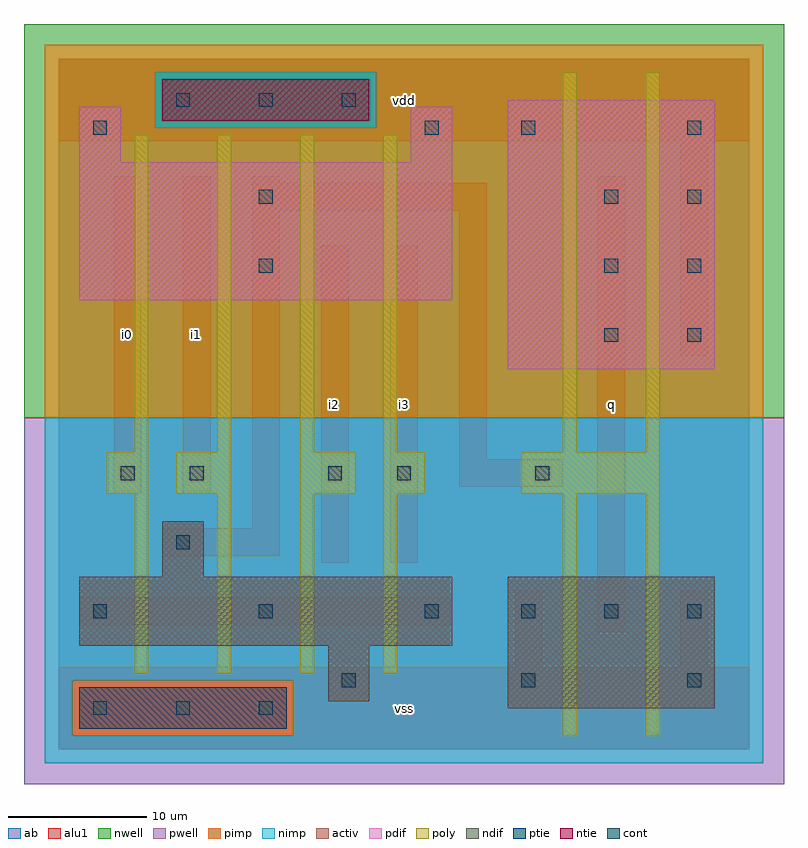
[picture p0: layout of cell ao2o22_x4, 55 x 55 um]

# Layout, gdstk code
import gdstk
lib = gdstk.Library(unit=1e-6, precision=1e-09)
def R(c, l, rs):  # rectangles x0, y0, x1, y1
    for r in rs: c.add(gdstk.rectangle(r[:2], r[2:], *l))
def A(c, l, x, y, w, h, nx, ny, dx, dy):  # array of equal rectangles
    R(c, l, [(x+i*dx, y+j*dy, x+i*dx+w, y+j*dy+h) for i in range(nx) for j in range(ny)])
ndif = (3, 0)
pdif = (4, 0)
ntie = (5, 0)
ptie = (6, 0)
cont = (25, 0)
pwell = (41, 0)
nwell = (42, 0)
activ = (43, 0)
pimp = (44, 0)
nimp = (45, 0)
poly = (46, 0)
alu1 = (49, 0)
ab = (63, 0)

ao2o22_x4 = lib.new_cell('ao2o22_x4')
R(ao2o22_x4, ndif, [(32.5,3,47.5,12.5), (19.5,3.5,22.5,7.5), (1.5,7.5,28.5,12.5), (7.5,12.5,10.5,16.5)])
R(ao2o22_x4, pdif, [(32.5,27.5,47.5,47), (1.5,32.5,28.5,42.5), (1.5,42.5,4.5,46.5), (25.5,42.5,28.5,46.5)])
R(ao2o22_x4, ntie, [(7.5,45.5,22.5,48.5)])
R(ao2o22_x4, ptie, [(1.5,1.5,16.5,4.5)])
A(ao2o22_x4, cont, 2.5, 2.5, 1, 1, 3, 1, 6, 0)
A(ao2o22_x4, cont, 2.5, 9.5, 1, 1, 3, 1, 12, 0)
A(ao2o22_x4, cont, 33.5, 9.5, 1, 1, 3, 1, 6, 0)
A(ao2o22_x4, cont, 39.5, 29.5, 1, 1, 1, 3, 0, 5)
A(ao2o22_x4, cont, 45.5, 29.5, 1, 1, 1, 4, 0, 5)
A(ao2o22_x4, cont, 8.5, 46.5, 1, 1, 3, 1, 6, 0)
R(ao2o22_x4, cont, [(20.5,4.5,21.5,5.5), (33.5,4.5,34.5,5.5), (45.5,4.5,46.5,5.5), (8.5,14.5,9.5,15.5), (4.5,19.5,5.5,20.5), (9.5,19.5,10.5,20.5), (19.5,19.5,20.5,20.5), (24.5,19.5,25.5,20.5), (34.5,19.5,35.5,20.5), (14.5,34.5,15.5,35.5), (14.5,39.5,15.5,40.5), (2.5,44.5,3.5,45.5), (26.5,44.5,27.5,45.5), (33.5,44.5,34.5,45.5)])
R(ao2o22_x4, pwell, [(-2.5,-2.5,52.5,24)])
R(ao2o22_x4, nwell, [(-2.5,24,52.5,52.5)])
R(ao2o22_x4, activ, [(1.5,1.5,16.5,4.5), (32.5,3,47.5,12.5), (19.5,3.5,22.5,7.5), (1.5,7.5,28.5,12.5), (7.5,12.5,10.5,16.5), (32.5,27.5,47.5,47), (1.5,32.5,28.5,42.5), (1.5,42.5,4.5,46.5), (25.5,42.5,28.5,46.5), (7.5,45.5,22.5,48.5)])
R(ao2o22_x4, pimp, [(1,1,17,5), (-1,24,51,45), (-1,45,7,49), (23,45,51,49), (-1,49,51,51)])
R(ao2o22_x4, nimp, [(-1,-1,51,1), (-1,1,1,5), (17,1,51,5), (-1,5,51,24), (7,45,23,49)])
A(ao2o22_x4, poly, 5.5, 5.5, 1, 13, 4, 1, 6, 0)
A(ao2o22_x4, poly, 5.5, 21.5, 1, 23, 4, 1, 6, 0)
R(ao2o22_x4, poly, [(36.5,1,37.5,18.5), (42.5,1,43.5,18.5), (3.5,18.5,6.5,21.5), (8.5,18.5,12.5,21.5), (17.5,18.5,21.5,21.5), (23.5,18.5,26.5,21.5), (33.5,18.5,43.5,21.5), (36.5,21.5,37.5,49), (42.5,21.5,43.5,49)])
R(ao2o22_x4, alu1, [(0,0,50,6), (0,0,50,6), (33,6,35,11.5), (33,6,35,11.5), (45,6,47,11.5), (45,6,47,11.5), (39,8.5,41,41.5), (39,8.5,41,41.5), (1.5,9,28.5,11), (1.5,9,28.5,11), (19,13.5,21,36.5), (19,13.5,21,36.5), (24,13.5,26,36.5), (24,13.5,26,36.5), (7.5,14,16,16), (7.5,14,16,16), (14,16,16,39), (14,16,16,39), (4,18.5,6,41.5), (4,18.5,6,41.5), (9,18.5,11,41.5), (9,18.5,11,41.5), (29,19,36.5,21), (29,19,36.5,21), (29,21,31,39), (29,21,31,39), (45,28.5,47,44), (45,28.5,47,44), (14,39,31,41), (14,39,31,41), (14,41,16,41.5), (14,41,16,41.5), (0,44,50,50), (0,44,50,50)])
R(ao2o22_x4, ab, [(0,0,50,50)])
ao2o22_x4.add(gdstk.Label('i0', (5,30), layer=49, texttype=0))
ao2o22_x4.add(gdstk.Label('i1', (10,30), layer=49, texttype=0))
ao2o22_x4.add(gdstk.Label('i2', (20,25), layer=49, texttype=0))
ao2o22_x4.add(gdstk.Label('vss', (25,3), layer=49, texttype=0))
ao2o22_x4.add(gdstk.Label('i3', (25,25), layer=49, texttype=0))
ao2o22_x4.add(gdstk.Label('vdd', (25,47), layer=49, texttype=0))
ao2o22_x4.add(gdstk.Label('q', (40,25), layer=49, texttype=0))

lib.write_gds('ao2o22_x4.gds')
